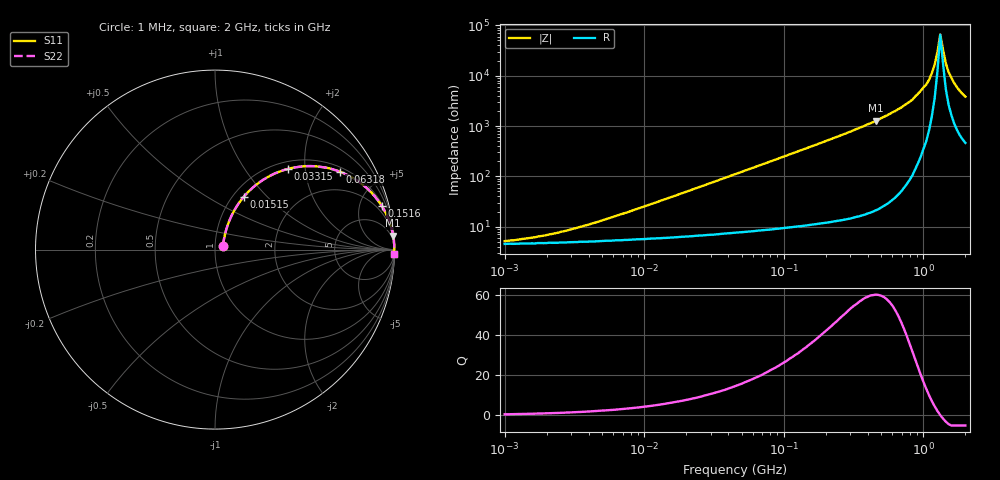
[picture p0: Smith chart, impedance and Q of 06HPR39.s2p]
# MHz S MA R 50
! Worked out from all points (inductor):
!   166 points, 1 MHz to 2 GHz, reference 50 ohm
!   read as one part in series: L = 390 nH near 6.611 MHz
!   highest Q = 59.9 at 458 MHz (marker M1), where L = 444 nH
!   self-resonance near 1.321 GHz
!   S11 on the Smith chart (normalised r, x): 1 MHz: 1.09, +0.05; 15.15 MHz: 1.12, +0.74; 33.15 MHz: 1.14, +1.63; 63.18 MHz: 1.17, +3.10; 151.6 MHz: 1.21, +7.53; 2 GHz: 9, -76
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1  0.049 27.1  0.956 -1.3  0.956 -1.3  0.049 27.1
1.906  0.063 42.1  0.954 -2.6  0.954 -2.6  0.063 42.1
3.632  0.097 55.8  0.949 -4.8  0.949 -4.8  0.097 55.8
13.193  0.297 62.6  0.903 -17.0  0.903 -17.0  0.297 62.6
15.148  0.335 61.4  0.89 -19.3  0.89 -19.3  0.335 61.4
33.149  0.607 47.8  0.744 -37.2  0.744 -37.2  0.607 47.8
45.763  0.724 39.9  0.643 -46.2  0.643 -46.2  0.724 39.9
63.177  0.821 31.9  0.529 -55.1  0.529 -55.1  0.821 31.9
151.593  0.96 14.8  0.255 -73.6  0.255 -73.6  0.96 14.8
166.224  0.966 13.5  0.233 -75.0  0.233 -75.0  0.966 13.5
457.963  0.996 4.5  0.078 -84.6  0.078 -84.6  0.996 4.5
576.582  0.997 3.3  0.057 -85.7  0.057 -85.7  0.997 3.3
833.511  0.999 1.7  0.03 -86.5  0.03 -86.5  0.999 1.7
1049.404  0.999 0.8  0.015 -84.8  0.015 -84.8  0.999 0.8
1098.876  0.999 0.7  0.012 -83.6  0.012 -83.6  0.999 0.7
1204.929  0.999 0.3  0.006033 -77.1  0.006033 -77.1  0.999 0.3
1261.733  0.999 0.2  0.003359 -65.2  0.003359 -65.2  0.999 0.2
1321.216  0.999 0.0  0.001517 -8.6  0.001517 -8.6  0.999 0.0
1448.726  0.998 -0.3  0.0057 71.9  0.0057 71.9  0.998 -0.3
1517.024  0.998 -0.5  0.008477 76.7  0.008477 76.7  0.998 -0.5
1741.852  0.997 -1.0  0.017 80.9  0.017 80.9  0.997 -1.0
2000  0.997 -1.5  0.026 81.6  0.026 81.6  0.997 -1.5
